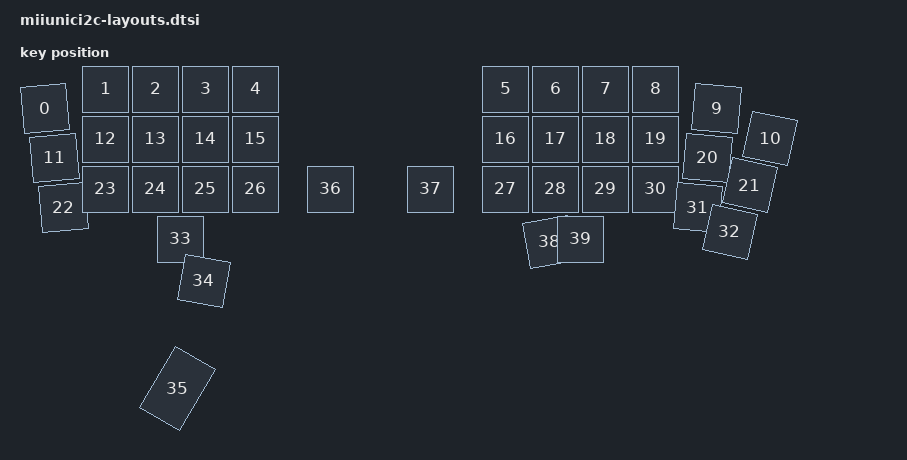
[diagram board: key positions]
#include <physical_layouts.dtsi>

/ {
    physical_layout_miiunici2c: physical_layout_miiunici2c {
        compatible = "zmk,physical-layout";
        display-name = "miiunicI2C";
        keys  //                     w   h    x    y     rot    rx    ry
            = <&key_physical_attrs 100 100(-60)  100 (-1200)     0     0>
            , <&key_physical_attrs 100 100   70   50  (-500)     0     0>
            , <&key_physical_attrs 100 100  200    0       0     0     0>
            , <&key_physical_attrs 100 100  300    0       0     0     0>
            , <&key_physical_attrs 100 100  400    0       0     0     0>
            , <&key_physical_attrs 100 100  500    0       0     0     0>
            , <&key_physical_attrs 100 100 1000    0       0     0     0>
            , <&key_physical_attrs 100 100 1100    0       0     0     0>
            , <&key_physical_attrs 100 100 1200    0       0     0     0>
            , <&key_physical_attrs 100 100 1300    0       0     0     0>
            , <&key_physical_attrs 100 100 1430   50     500  1600     0>
            , <&key_physical_attrs 100 100 1560  100    1200  1600     0>
            , <&key_physical_attrs 100 100(-40)  200 (-1200)     0     0>
            , <&key_physical_attrs 100 100   80  150  (-500)     0     0>
            , <&key_physical_attrs 100 100  200  100       0     0     0>
            , <&key_physical_attrs 100 100  300  100       0     0     0>
            , <&key_physical_attrs 100 100  400  100       0     0     0>
            , <&key_physical_attrs 100 100  500  100       0     0     0>
            , <&key_physical_attrs 100 100 1000  100       0     0     0>
            , <&key_physical_attrs 100 100 1100  100       0     0     0>
            , <&key_physical_attrs 100 100 1200  100       0     0     0>
            , <&key_physical_attrs 100 100 1300  100       0     0     0>
            , <&key_physical_attrs 100 100 1420  150     500  1600     0>
            , <&key_physical_attrs 100 100 1540  200    1200  1600     0>
            , <&key_physical_attrs 100 100(-20)  300 (-1200)     0     0>
            , <&key_physical_attrs 100 100   90  250  (-500)     0     0>
            , <&key_physical_attrs 100 100  200  200       0     0     0>
            , <&key_physical_attrs 100 100  300  200       0     0     0>
            , <&key_physical_attrs 100 100  400  200       0     0     0>
            , <&key_physical_attrs 100 100  500  200       0     0     0>
            , <&key_physical_attrs 100 100 1000  200       0     0     0>
            , <&key_physical_attrs 100 100 1100  200       0     0     0>
            , <&key_physical_attrs 100 100 1200  200       0     0     0>
            , <&key_physical_attrs 100 100 1300  200       0     0     0>
            , <&key_physical_attrs 100 100 1410  250     500  1600     0>
            , <&key_physical_attrs 100 100 1520  300    1200  1600     0>
            , <&key_physical_attrs 100 100  350  300       0     0     0>
            , <&key_physical_attrs 100 100  465  300    1000     0     0>
            , <&key_physical_attrs 100 150  615  290    3000     0     0>
            , <&key_physical_attrs 100 100  650  200       0     0     0>
            , <&key_physical_attrs 100 100  850  200       0     0     0>
            , <&key_physical_attrs 100 150  800(-60) (-3000)  1600     0>
            , <&key_physical_attrs 100 100 1032  220 (-1000)  1600     0>
            , <&key_physical_attrs 100 100 1150  300       0     0     0>
            ;
    };
};
